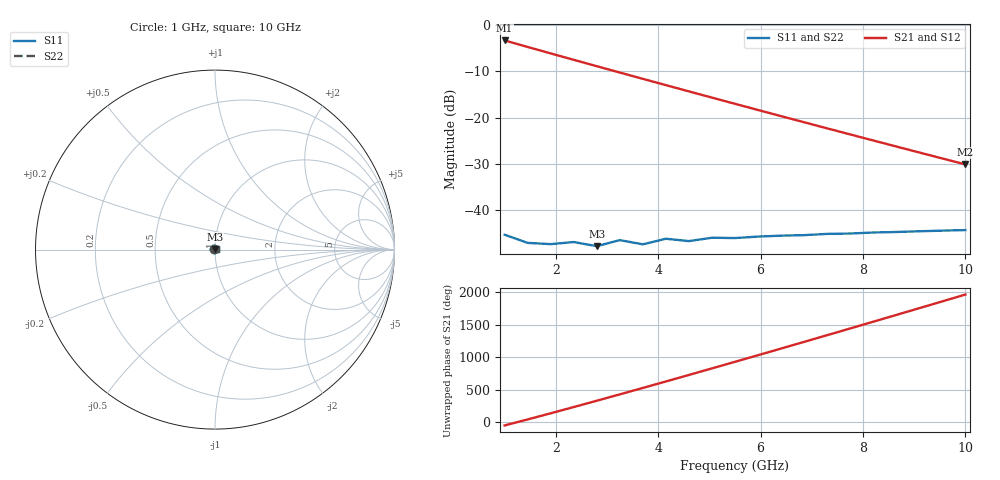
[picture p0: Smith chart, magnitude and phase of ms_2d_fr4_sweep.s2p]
! Touchstone file from project ms_2d_fr4_fsweep
! Variables:
!  t = 35um
!  w = 3mm
!  x_sub = 30mm
!  z_sub = 1.6mm
!  length = 1m
# GHZ S DB R 50.000000
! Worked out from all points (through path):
!   21 points, 1 GHz to 10 GHz, reference 50 ohm
!   highest |S21| = -3.28 dB at 1 GHz (marker M1); lowest = -30.1 dB at 10 GHz (marker M2)
!   lowest |S11| = -47.9 dB at 2.8 GHz (marker M3), VSWR 1.01, Z = 50 + j0.404 ohm
!   |S11| at or under -10 dB: start of sweep to end of sweep
!   |S22| runs from -47.9 to -44.4 dB; largest |S21 - S12| = 0
1  -45.38 140.5  -3.28 -50.3  -3.28 -50.3  -45.38 140.5
1.45  -47.15 85.8  -4.69 42.4  -4.69 42.4  -47.15 85.8
1.9  -47.42 109.2  -6.09 136.9  -6.09 136.9  -47.42 109.2
2.35  -46.96 78.0  -7.48 -127.1  -7.48 -127.1  -46.96 78.0
2.8  -47.86 87.7  -8.86 -30.0  -8.86 -30.0  -47.86 87.7
3.25  -46.55 72.1  -10.24 68.0  -10.24 68.0  -46.55 72.1
3.7  -47.46 73.1  -11.60 166.9  -11.60 166.9  -47.46 73.1
4.15  -46.25 67.2  -12.96 -93.5  -12.96 -93.5  -46.25 67.2
4.6  -46.77 63.8  -14.32 6.7  -14.32 6.7  -46.77 63.8
5.05  -46.03 62.5  -15.67 107.5  -15.67 107.5  -46.03 62.5
5.5  -46.10 58.3  -17.01 -151.2  -17.01 -151.2  -46.10 58.3
5.95  -45.78 58.0  -18.35 -49.3  -18.35 -49.3  -45.78 58.0
6.4  -45.58 54.7  -19.68 52.9  -19.68 52.9  -45.58 54.7
6.85  -45.47 53.9  -21.01 155.6  -21.01 155.6  -45.47 53.9
7.3  -45.20 51.9  -22.33 -101.4  -22.33 -101.4  -45.20 51.9
7.75  -45.12 50.7  -23.65 2.1  -23.65 2.1  -45.12 50.7
8.2  -44.90 49.5  -24.96 105.8  -24.96 105.8  -44.90 49.5
8.65  -44.78 48.2  -26.26 -150.1  -26.26 -150.1  -44.78 48.2
9.1  -44.63 47.3  -27.56 -45.7  -27.56 -45.7  -44.63 47.3
9.55  -44.49 46.2  -28.86 58.9  -28.86 58.9  -44.49 46.2
10  -44.37 45.4  -30.15 163.9  -30.15 163.9  -44.37 45.4
